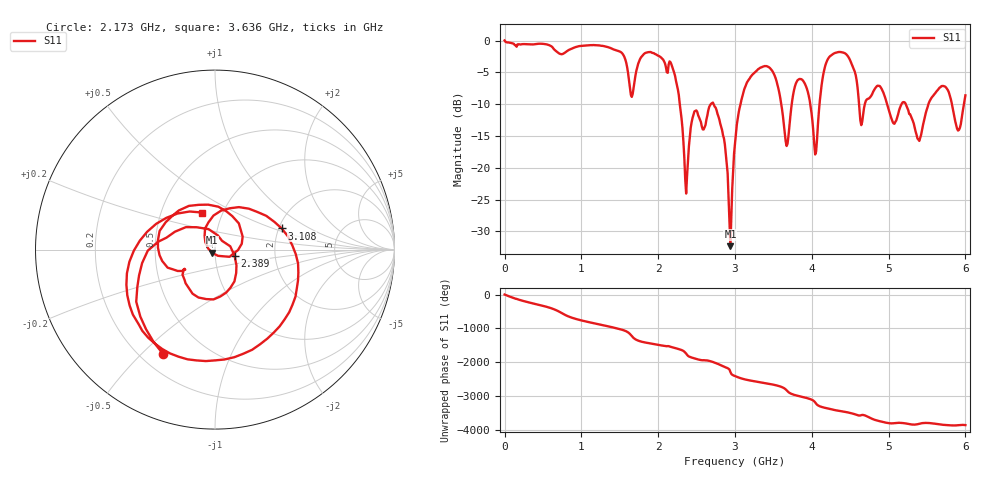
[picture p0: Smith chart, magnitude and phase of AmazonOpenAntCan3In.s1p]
# Hz S RI R 50
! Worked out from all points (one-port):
!   501 points, 1 MHz to 6 GHz, reference 50 ohm
!   lowest |S11| = -32.3 dB at 2.941 GHz (marker M1), VSWR 1.05, Z = 48.3 - j1.71 ohm
!   |S11| at or under -10 dB: 2.282 GHz to 2.686 GHz (404.1 MHz wide, 16.3 % of centre); 2.722 GHz to 3.073 GHz (350.1 MHz wide, 12.1 % of centre); 5.224 GHz to 5.519 GHz (294.9 MHz wide, 5.49 % of centre)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
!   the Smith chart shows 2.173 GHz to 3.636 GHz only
!   S11 on the Smith chart (normalised r, x): 2.173 GHz: 0.29, -0.58; 2.389 GHz: 1.24, -0.08; 3.108 GHz: 2.07, +0.58; 3.636 GHz: 0.80, +0.35
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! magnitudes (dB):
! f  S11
! 1 MHz  0.0
! 756.9 MHz  -2.1
! 1.501 GHz  -1.7
! 1.657 GHz  -8.9
! 1.825 GHz  -2.0
! 2.173 GHz  -3.7
! 2.257 GHz  -7.7
! 2.389 GHz  -18.9
! 2.473 GHz  -11.1
! 2.725 GHz  -10.1
! 2.857 GHz  -15.4
! 2.941 GHz  -32.3
! 3.001 GHz  -16.2
! 3.108 GHz  -8.2
! 3.444 GHz  -4.2
! 3.636 GHz  -13.2
! 3.756 GHz  -8.6
! 3.912 GHz  -6.8
! 4.044 GHz  -17.9
! 4.2 GHz  -3.1
! 4.5 GHz  -3.1
! 4.644 GHz  -13.3
! 4.86 GHz  -7.1
! 5.256 GHz  -10.9
! 5.4 GHz  -15.8
! 5.676 GHz  -7.3
! 5.904 GHz  -14.2
! 6 GHz  -8.6
